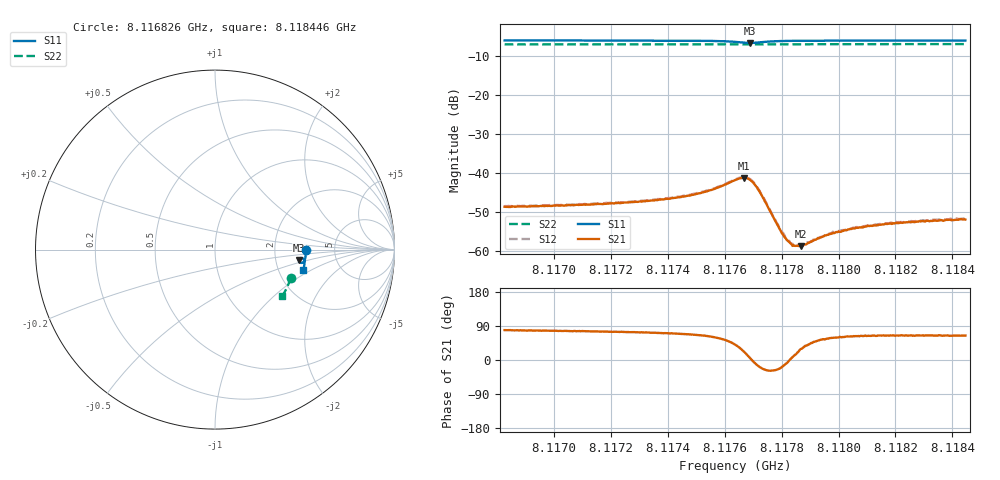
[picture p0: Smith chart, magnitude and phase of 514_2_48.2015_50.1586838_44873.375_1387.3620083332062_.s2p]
#  HZ  S  RI  R  50.00
! Rohde & Schwarz Vector Network Analyzer
! Rohde-Schwarz,ZNB20-2Port,1311601062101988,3.16
! Created: UTC 3/20/2024, 11:59:06 AM
! freq[Hz]  re:S11  im:S11  re:S21  im:S21  re:S12  im:S12  re:S22  im:S22
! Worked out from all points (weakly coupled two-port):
!   401 points, 8.116826 GHz to 8.118446 GHz, reference 50 ohm
!   highest |S21| = -41.13 dB at 8.117668 GHz (marker M1); lowest = -58.7 dB at 8.117867 GHz (marker M2)
!   lowest |S11| = -6.5 dB at 8.117688 GHz (marker M3), VSWR 2.78, Z = 135 - j20.2 ohm
!   |S11| at or under -10 dB: nowhere
!   |S22| runs from -6.9 to -6.8 dB; largest |S21 - S12| = 0.00022
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8.1168259e9  0.5068 -0.00239  0.000718 0.00366  0.000754 0.00373  0.4227 -0.1568
8.1170973e9  0.5058 -0.0235  0.000934 0.00385  0.00101 0.00388  0.4165 -0.1748
8.1173686e9  0.503 -0.0463  0.00147 0.00437  0.00149 0.00445  0.4094 -0.1924
8.1174496e9  0.5012 -0.0541  0.0018 0.0047  0.00186 0.00474  0.407 -0.1975
8.1175184e9  0.4984 -0.0617  0.00239 0.00512  0.00248 0.00523  0.405 -0.2021
8.117571e9  0.494 -0.0682  0.00337 0.00556  0.00342 0.00566  0.4033 -0.2056
8.1176358e9  0.4803 -0.0741  0.00622 0.00536  0.00631 0.00545  0.4008 -0.2096
8.1176682e9  0.4694 -0.0678  0.00818 0.00319  0.00838 0.00325  0.3995 -0.211
8.1176885e9  0.4671 -0.0582  0.00823 0.000749  0.00846 0.000753  0.3988 -0.2119
8.1177047e9  0.4708 -0.051  0.00718 -0.000926  0.00737 -0.00101  0.3986 -0.2125
8.1177209e9  0.4771 -0.047  0.00567 -0.00181  0.0058 -0.00189  0.3984 -0.2133
8.1177897e9  0.4945 -0.054  0.00186 -0.000812  0.00192 -0.000847  0.3969 -0.2181
8.11781e9  0.4963 -0.0574  0.00149 -0.000345  0.00156 -0.000393  0.3966 -0.2194
8.1178221e9  0.497 -0.0592  0.00136 -0.000118  0.00136 -0.000136  0.3962 -0.2201
8.1178383e9  0.4978 -0.0616  0.00116 0.000159  0.00124 0.000149  0.3959 -0.2213
8.1178667e9  0.4985 -0.0652  0.00102 0.000568  0.00107 0.000576  0.3949 -0.223
8.1179072e9  0.4989 -0.0702  0.000962 0.000955  0.000944 0.000963  0.3935 -0.2258
8.1179598e9  0.4989 -0.0755  0.000905 0.00136  0.000941 0.0014  0.3919 -0.2291
8.1180043e9  0.4986 -0.0798  0.000857 0.00156  0.000932 0.00158  0.3903 -0.2319
8.1181096e9  0.4972 -0.0891  0.000939 0.0019  0.000931 0.00196  0.3867 -0.2382
8.1181785e9  0.4963 -0.0949  0.000985 0.00205  0.000987 0.00208  0.3845 -0.2428
8.1184457e9  0.4919 -0.1155  0.0011 0.00231  0.00117 0.00236  0.3748 -0.2586
